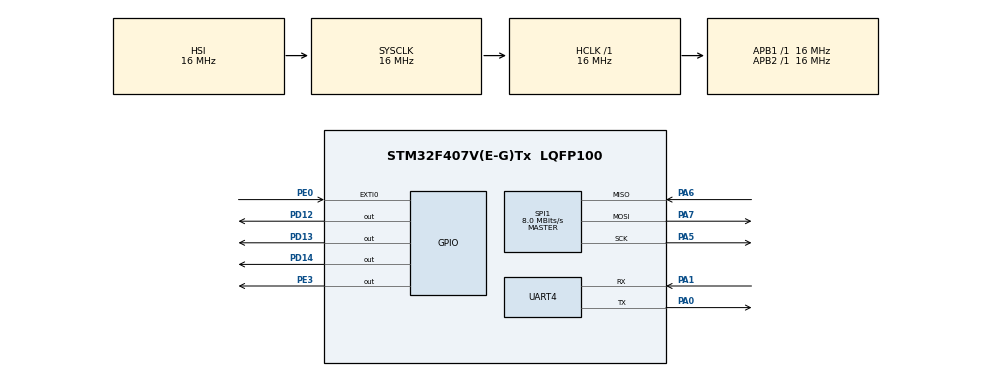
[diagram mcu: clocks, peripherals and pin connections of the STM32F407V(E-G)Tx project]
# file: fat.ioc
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Mcu.Family=STM32F4
Mcu.Name=STM32F407V(E-G)Tx
Mcu.Package=LQFP100
NVIC.EXTI0_IRQn=true\:15\:0\:true\:false\:true\:true\:true
NVIC.PriorityGroup=NVIC_PRIORITYGROUP_4
NVIC.TIM6_DAC_IRQn=true\:0\:0\:true\:false\:true\:false\:true
NVIC.TimeBase=TIM6_DAC_IRQn
NVIC.TimeBaseIP=TIM6
PA0-WKUP.Mode=Asynchronous
PA0-WKUP.Signal=UART4_TX
PA1.Mode=Asynchronous
PA1.Signal=UART4_RX
PA5.Mode=Full_Duplex_Master
PA5.Signal=SPI1_SCK
PA6.Mode=Full_Duplex_Master
PA6.Signal=SPI1_MISO
PA7.Mode=Full_Duplex_Master
PA7.Signal=SPI1_MOSI
PD12.Signal=GPIO_Output
PD13.Signal=GPIO_Output
PD14.Signal=GPIO_Output
PE0.Signal=GPXTI0
PE3.Signal=GPIO_Output
ProjectManager.HeapSize=0x200
ProjectManager.StackSize=0x400
ProjectManager.TargetToolchain=STM32CubeIDE
RCC.AHBFreq_Value=16000000
RCC.APB1Freq_Value=16000000
RCC.APB2Freq_Value=16000000
RCC.CortexFreq_Value=16000000
RCC.HSE_VALUE=25000000
RCC.HSI_VALUE=16000000
RCC.LSE_VALUE=32768
RCC.SYSCLKFreq_VALUE=16000000
RCC.VCOOutputFreq_Value=192000000
SPI1.CalculateBaudRate=8.0 MBits/s
SPI1.Direction=SPI_DIRECTION_2LINES
SPI1.Mode=SPI_MODE_MASTER
SPI1.VirtualType=VM_MASTER
UART4.VirtualMode=Asynchronous
VP_SYS_VS_tim6.Mode=TIM6
board=custom

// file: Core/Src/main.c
/* USER CODE BEGIN Header */
/**
  ******************************************************************************
  * @file           : main.c
  * @brief          : Main program body
  ******************************************************************************
  * @attention
  *
  * <h2><center>&copy; Copyright (c) 2021 STMicroelectronics.
  * All rights reserved.</center></h2>
  *
  * This software component is licensed by ST under BSD 3-Clause license,
  * the "License"; You may not use this file except in compliance with the
  * License. You may obtain a copy of the License at:
  *                        opensource.org/licenses/BSD-3-Clause
  *
  ******************************************************************************
  */
/* USER CODE END Header */
#include "main.h"
#include "main.h"
#include "FreeRTOS.h"
#include "task.h"
#include "queue.h"
#include "semphr.h"
#define LIS3DSH_WHO_AM_I_ADDR                0x0F
#define LIS3DSH_CTRL_REG4_ADDR               0x20
#define LIS3DSH_CTRL_REG1_ADDR               0x21
#define LIS3DSH_CTRL_REG2_ADDR               0x22
#define LIS3DSH_CTRL_REG3_ADDR               0x23
#define LIS3DSH_CTRL_REG5_ADDR               0x24
#define LIS3DSH_CTRL_REG6_ADDR               0x25

#define LIS3DSH_STATUS_ADDR                  0x27

#define LIS3DSH_OUT_X_L_ADDR                 0x28
#define LIS3DSH_OUT_X_H_ADDR                 0x29
#define LIS3DSH_OUT_Y_L_ADDR                 0x2A
#define LIS3DSH_OUT_Y_H_ADDR                 0x2B
#define LIS3DSH_OUT_Z_L_ADDR                 0x2C
#define LIS3DSH_OUT_Z_H_ADDR                 0x2D

#define LIS3DSH_ST1_1_ADDR                   0x40
#define LIS3DSH_ST1_2_ADDR                   0x41
#define LIS3DSH_THRS1_1_ADDR                 0x57
#define LIS3DSH_MASK1_B_ADDR                 0x59
#define LIS3DSH_MASK1_A_ADDR                 0x5A
#define LIS3DSH_SETT1_ADDR                   0x5B

SPI_HandleTypeDef hspi1;

UART_HandleTypeDef huart4;

void SystemClock_Config(void);
static void MX_GPIO_Init(void);
static void MX_SPI1_Init(void);
static void MX_UART4_Init(void);
void initMEMS(void);
void Task1( void *pvParameters );
void Task2( void *pvParameters );
/* USER CODE BEGIN PFP */
SemaphoreHandle_t xSemaphore;
uint8_t flag=pdTRUE;
/* USER CODE END PFP */

int main(void)
{

  /* MCU Configuration--------------------------------------------------------*/

  /* Reset of all peripherals, Initializes the Flash interface and the Systick. */
  HAL_Init();

  /* Configure the system clock */
  SystemClock_Config();

  /* Initialize all configured peripherals */
  	MX_GPIO_Init();
  	MX_SPI1_Init();
  	MX_UART4_Init();
  	initMEMS();
  /* USER CODE BEGIN 2 */

	xSemaphore = xSemaphoreCreateBinary();
	xTaskCreate(Task1,"task1",130,NULL,1,NULL);
	xTaskCreate(Task2,"task2",130,NULL,2,NULL);
//	xTaskCreate(Task2,"task1",128,NULL,1,NULL);

//	gg=xQueueCreate(1,1);
	vTaskStartScheduler();
	/* USER CODE END 2 */

  /* Infinite loop */
  /* USER CODE BEGIN WHILE */

  while (1)
  {

//    /* USER CODE END WHILE */
//
//    /* USER CODE BEGIN 3 */
  }
  /* USER CODE END 3 */
}

void SystemClock_Config(void)
{
  RCC_OscInitTypeDef RCC_OscInitStruct = {0};
  RCC_ClkInitTypeDef RCC_ClkInitStruct = {0};

  /** Configure the main internal regulator output voltage
  */
  __HAL_RCC_PWR_CLK_ENABLE();
  __HAL_PWR_VOLTAGESCALING_CONFIG(PWR_REGULATOR_VOLTAGE_SCALE1);
  /** Initializes the RCC Oscillators according to the specified parameters
  * in the RCC_OscInitTypeDef structure.
  */
  RCC_OscInitStruct.OscillatorType = RCC_OSCILLATORTYPE_HSI;
  RCC_OscInitStruct.HSIState = RCC_HSI_ON;
  RCC_OscInitStruct.HSICalibrationValue = RCC_HSICALIBRATION_DEFAULT;
  RCC_OscInitStruct.PLL.PLLState = RCC_PLL_NONE;
  if (HAL_RCC_OscConfig(&RCC_OscInitStruct) != HAL_OK)
  {
    Error_Handler();
  }
  /** Initializes the CPU, AHB and APB buses clocks
  */
  RCC_ClkInitStruct.ClockType = RCC_CLOCKTYPE_HCLK|RCC_CLOCKTYPE_SYSCLK
                              |RCC_CLOCKTYPE_PCLK1|RCC_CLOCKTYPE_PCLK2;
  RCC_ClkInitStruct.SYSCLKSource = RCC_SYSCLKSOURCE_HSI;
  RCC_ClkInitStruct.AHBCLKDivider = RCC_SYSCLK_DIV1;
  RCC_ClkInitStruct.APB1CLKDivider = RCC_HCLK_DIV1;
  RCC_ClkInitStruct.APB2CLKDivider = RCC_HCLK_DIV1;

  if (HAL_RCC_ClockConfig(&RCC_ClkInitStruct, FLASH_LATENCY_0) != HAL_OK)
  {
    Error_Handler();
  }
}

static void MX_SPI1_Init(void)
{

  /* SPI1 parameter configuration*/
	hspi1.Instance = SPI1;
	hspi1.Init.Mode = SPI_MODE_MASTER;
	hspi1.Init.Direction = SPI_DIRECTION_2LINES;
	hspi1.Init.DataSize = SPI_DATASIZE_8BIT;
	hspi1.Init.CLKPolarity = SPI_POLARITY_LOW;
	hspi1.Init.CLKPhase = SPI_PHASE_1EDGE;
	hspi1.Init.NSS = SPI_NSS_SOFT;
	hspi1.Init.BaudRatePrescaler = SPI_BAUDRATEPRESCALER_2;
	hspi1.Init.FirstBit = SPI_FIRSTBIT_MSB;
	hspi1.Init.TIMode = SPI_TIMODE_DISABLE;
	hspi1.Init.CRCCalculation = SPI_CRCCALCULATION_DISABLE;
	hspi1.Init.CRCPolynomial = 10;
  if (HAL_SPI_Init(&hspi1) != HAL_OK)
  {
    Error_Handler();
  }

}

static void MX_UART4_Init(void)
{

  huart4.Instance = UART4;
  huart4.Init.BaudRate = 115200;
  huart4.Init.WordLength = UART_WORDLENGTH_8B;
  huart4.Init.StopBits = UART_STOPBITS_1;
  huart4.Init.Parity = UART_PARITY_NONE;
  huart4.Init.Mode = UART_MODE_TX_RX;
  huart4.Init.HwFlowCtl = UART_HWCONTROL_NONE;
  huart4.Init.OverSampling = UART_OVERSAMPLING_16;
  if (HAL_UART_Init(&huart4) != HAL_OK)
  {
    Error_Handler();
  }

}

static void MX_GPIO_Init(void)
{
  GPIO_InitTypeDef GPIO_InitStruct = {0};

  /* GPIO Ports Clock Enable */
  __HAL_RCC_GPIOE_CLK_ENABLE();
  __HAL_RCC_GPIOA_CLK_ENABLE();
  __HAL_RCC_GPIOD_CLK_ENABLE();

  /*Configure GPIO pin Output Level */
  HAL_GPIO_WritePin(GPIOE, GPIO_PIN_3, GPIO_PIN_RESET);

  /*Configure GPIO pin Output Level */
  HAL_GPIO_WritePin(GPIOD, GPIO_PIN_12|GPIO_PIN_13|GPIO_PIN_14, GPIO_PIN_RESET);

  /*Configure GPIO pin : PE3 */
  GPIO_InitStruct.Pin = GPIO_PIN_3;
  GPIO_InitStruct.Mode = GPIO_MODE_OUTPUT_PP;
  GPIO_InitStruct.Pull = GPIO_NOPULL;
  GPIO_InitStruct.Speed = GPIO_SPEED_FREQ_LOW;
  HAL_GPIO_Init(GPIOE, &GPIO_InitStruct);

  /*Configure GPIO pins : PD12 PD13 PD14 */
  GPIO_InitStruct.Pin = GPIO_PIN_12|GPIO_PIN_13|GPIO_PIN_14;
  GPIO_InitStruct.Mode = GPIO_MODE_OUTPUT_PP;
  GPIO_InitStruct.Pull = GPIO_NOPULL;
  GPIO_InitStruct.Speed = GPIO_SPEED_FREQ_LOW;
  HAL_GPIO_Init(GPIOD, &GPIO_InitStruct);

  /*Configure GPIO pin : PE0 */
  GPIO_InitStruct.Pin = GPIO_PIN_0;
  GPIO_InitStruct.Mode = GPIO_MODE_IT_RISING;
  GPIO_InitStruct.Pull = GPIO_NOPULL;
  HAL_GPIO_Init(GPIOE, &GPIO_InitStruct);

  /* EXTI interrupt init*/
  HAL_NVIC_SetPriority(EXTI0_IRQn, 10, 0);
  HAL_NVIC_EnableIRQ(EXTI0_IRQn);

}

/* USER CODE BEGIN 4 */
void Task1( void *pvParameters ){
	for(;;){
		HAL_GPIO_TogglePin(GPIOD,GPIO_PIN_12);

		vTaskDelay(100);
	}

}

void Task2( void *pvParameters ){

	for(;;){
		xSemaphoreTake(xSemaphore, portMAX_DELAY);
		flag=pdFALSE;
		HAL_GPIO_WritePin(GPIOD,GPIO_PIN_12,GPIO_PIN_RESET);

		HAL_GPIO_TogglePin(GPIOD,GPIO_PIN_13);
		HAL_Delay(1000);
		HAL_GPIO_TogglePin(GPIOD,GPIO_PIN_13);
		HAL_Delay(1000);
		HAL_GPIO_TogglePin(GPIOD,GPIO_PIN_13);
		HAL_Delay(1000);
		HAL_GPIO_TogglePin(GPIOD,GPIO_PIN_13);
		HAL_Delay(1000);
		HAL_GPIO_TogglePin(GPIOD,GPIO_PIN_13);
		HAL_Delay(1000);
		HAL_GPIO_TogglePin(GPIOD,GPIO_PIN_13);
		HAL_Delay(1000);
		HAL_GPIO_TogglePin(GPIOD,GPIO_PIN_13);
		HAL_Delay(1000);
		HAL_GPIO_TogglePin(GPIOD,GPIO_PIN_13);
		HAL_Delay(1000);
		HAL_GPIO_TogglePin(GPIOD,GPIO_PIN_13);
		HAL_Delay(1000);
		HAL_GPIO_TogglePin(GPIOD,GPIO_PIN_13);
		HAL_Delay(1000);
		flag=pdTRUE;
//
	}

}

void initMEMS(void){
	uint8_t data[1];
	  	uint8_t ads[1];

		HAL_GPIO_WritePin(GPIOE,GPIO_PIN_3,GPIO_PIN_RESET);
		data[0]=LIS3DSH_CTRL_REG1_ADDR;
		HAL_SPI_Transmit(&hspi1,data,1,10);
		ads[0]=0x01;
		HAL_SPI_Transmit(&hspi1,ads,1,10);
		HAL_GPIO_WritePin(GPIOE,GPIO_PIN_3,GPIO_PIN_SET);

		HAL_GPIO_WritePin(GPIOE,GPIO_PIN_3,GPIO_PIN_RESET);
		data[0]=LIS3DSH_CTRL_REG3_ADDR;
		HAL_SPI_Transmit(&hspi1,data,1,10);
		ads[0]=0x48;
		HAL_SPI_Transmit(&hspi1,ads,1,10);
		HAL_GPIO_WritePin(GPIOE,GPIO_PIN_3,GPIO_PIN_SET);

		HAL_GPIO_WritePin(GPIOE,GPIO_PIN_3,GPIO_PIN_RESET);
		data[0]=LIS3DSH_CTRL_REG4_ADDR;
		HAL_SPI_Transmit(&hspi1,data,1,10);
		ads[0]=0x67;
		HAL_SPI_Transmit(&hspi1,ads,1,10);
		HAL_GPIO_WritePin(GPIOE,GPIO_PIN_3,GPIO_PIN_SET);

	//	HAL_GPIO_WritePin(GPIOE,GPIO_PIN_3,GPIO_PIN_RESET);
	//	data[0]=0x24;
	//	HAL_SPI_Transmit(&hspi1,data,1,10);
	//	data[0]=0x00;
	//	HAL_SPI_Transmit(&hspi1,data,1,10);
	//	HAL_GPIO_WritePin(GPIOE,GPIO_PIN_3,GPIO_PIN_SET);

		HAL_GPIO_WritePin(GPIOE,GPIO_PIN_3,GPIO_PIN_RESET);
		data[0]=LIS3DSH_THRS1_1_ADDR;
		ads[0]=0x55;
		HAL_SPI_Transmit(&hspi1,data,1,10);
		HAL_SPI_Transmit(&hspi1,ads,1,10);
		HAL_GPIO_WritePin(GPIOE,GPIO_PIN_3,GPIO_PIN_SET);

		HAL_GPIO_WritePin(GPIOE,GPIO_PIN_3,GPIO_PIN_RESET);
		data[0]=LIS3DSH_ST1_1_ADDR;
		ads[0]=0x05;
		HAL_SPI_Transmit(&hspi1,data,1,10);
		HAL_SPI_Transmit(&hspi1,ads,1,10);
		HAL_GPIO_WritePin(GPIOE,GPIO_PIN_3,GPIO_PIN_SET);

		HAL_GPIO_WritePin(GPIOE,GPIO_PIN_3,GPIO_PIN_RESET);
		data[0]=LIS3DSH_ST1_2_ADDR;
		ads[0]=0x11;
		HAL_SPI_Transmit(&hspi1,data,1,10);
		HAL_SPI_Transmit(&hspi1,ads,1,10);
		HAL_GPIO_WritePin(GPIOE,GPIO_PIN_3,GPIO_PIN_SET);

		HAL_GPIO_WritePin(GPIOE,GPIO_PIN_3,GPIO_PIN_RESET);
		data[0]=LIS3DSH_MASK1_B_ADDR;
		ads[0]=0xFC;
		HAL_SPI_Transmit(&hspi1,data,1,10);
		HAL_SPI_Transmit(&hspi1,ads,1,10);
		HAL_GPIO_WritePin(GPIOE,GPIO_PIN_3,GPIO_PIN_SET);

		HAL_GPIO_WritePin(GPIOE,GPIO_PIN_3,GPIO_PIN_RESET);
		data[0]=LIS3DSH_MASK1_A_ADDR;
		ads[0]=0xFC;
		HAL_SPI_Transmit(&hspi1,data,1,10);
		HAL_SPI_Transmit(&hspi1,ads,1,10);
		HAL_GPIO_WritePin(GPIOE,GPIO_PIN_3,GPIO_PIN_SET);

		HAL_GPIO_WritePin(GPIOE,GPIO_PIN_3,GPIO_PIN_RESET);
		data[0]=LIS3DSH_SETT1_ADDR;
		ads[0]=0x01;
		HAL_SPI_Transmit(&hspi1,data,1,10);
		HAL_SPI_Transmit(&hspi1,ads,1,10);
		HAL_GPIO_WritePin(GPIOE,GPIO_PIN_3,GPIO_PIN_SET);
}

void HAL_GPIO_EXTI_Callback(uint16_t GPIO_Pin)
{
	BaseType_t xHigherPriorityTaskWoken;
	 if(GPIO_Pin == GPIO_PIN_0)
	 {
		 xHigherPriorityTaskWoken = pdFALSE;
		 if(flag==pdTRUE){
			 xSemaphoreGiveFromISR( xSemaphore, &xHigherPriorityTaskWoken );
		 }else{
			 //do nothing
		 }

		 HAL_GPIO_TogglePin(GPIOD,GPIO_PIN_14);
		 uint8_t data_1=0x5f|0x80;
		 HAL_GPIO_WritePin(GPIOE,GPIO_PIN_3,GPIO_PIN_RESET);
		 HAL_SPI_Transmit(&hspi1,&data_1,1,10);
		  ////	HAL_Delay(10);
		 HAL_SPI_Receive(&hspi1,&data_1,1,10);
		 HAL_GPIO_WritePin(GPIOE,GPIO_PIN_3,GPIO_PIN_SET);
		 portYIELD_FROM_ISR( xHigherPriorityTaskWoken );
	 }

}
/* USER CODE END 4 */

 /**
  * @brief  Period elapsed callback in non blocking mode
  * @note   This function is called  when TIM6 interrupt took place, inside
  * HAL_TIM_IRQHandler(). It makes a direct call to HAL_IncTick() to increment
  * a global variable "uwTick" used as application time base.
  * @param  htim : TIM handle
  * @retval None
  */
void HAL_TIM_PeriodElapsedCallback(TIM_HandleTypeDef *htim)
{
  if (htim->Instance == TIM6) {
    HAL_IncTick();
  }
}

void Error_Handler(void)
{
  __disable_irq();
  while (1)
  {
  }
}

/************************ (C) COPYRIGHT STMicroelectronics *****END OF FILE****/
